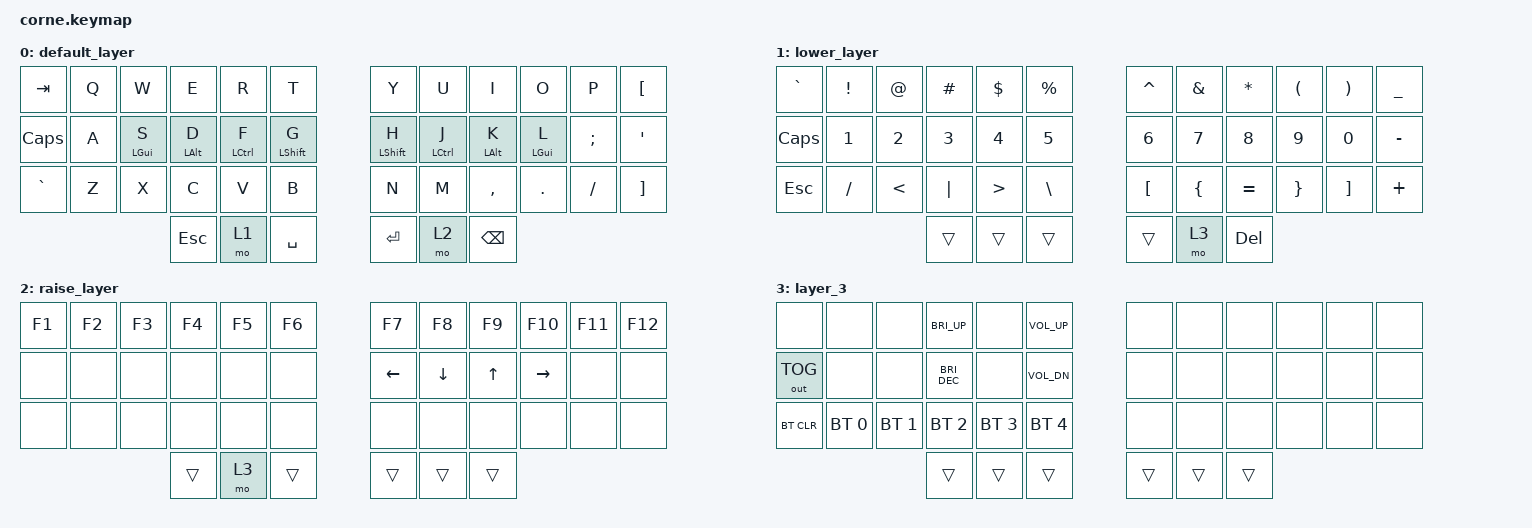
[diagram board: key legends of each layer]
/*
 * Copyright (c) 2020 The ZMK Contributors
 *
 * SPDX-License-Identifier: MIT
 */

#include <behaviors.dtsi>
#include <dt-bindings/zmk/bt.h>
#include <dt-bindings/zmk/keys.h>
#include <dt-bindings/zmk/outputs.h>

/ {
    keymap {
        compatible = "zmk,keymap";

        default_layer {
            // -----------------------------------------------------------------------------------------
            // |  TAB |  Q  |  W  |  E  |  R  |  T  |   |  Y  |  U   |  I  |  O  |  P  | BKSP |
            // | CTRL |  A  |  S  |  D  |  F  |  G  |   |  H  |  J   |  K  |  L  |  ;  |  '   |
            // | SHFT |  Z  |  X  |  C  |  V  |  B  |   |  N  |  M   |  ,  |  .  |  /  | ESC  |
            //                    | GUI | LWR | SPC |   | ENT | RSE  | ALT |

            bindings = <
&kp TAB    &kp Q  &kp W           &kp E           &kp R        &kp T               &kp Y             &kp U               &kp I           &kp O           &kp P     &kp LEFT_BRACKET
&kp CAPS   &kp A  &mt LEFT_GUI S  &mt LEFT_ALT D  &mt LCTRL F  &mt LEFT_SHIFT G    &mt LEFT_SHIFT H  &mt LEFT_CONTROL J  &mt LEFT_ALT K  &mt LEFT_GUI L  &kp SEMI  &kp SQT
&kp GRAVE  &kp Z  &kp X           &kp C           &kp V        &kp B               &kp N             &kp M               &kp COMMA       &kp DOT         &kp FSLH  &kp RIGHT_BRACKET
                                  &kp ESCAPE      &mo 1        &kp SPACE           &kp RET           &mo 2               &kp BACKSPACE
            >;
        };

        lower_layer {
            // -----------------------------------------------------------------------------------------
            // |  TAB |  1  |  2  |  3  |  4  |  5  |   |  6  |  7  |  8  |  9  |  0  | BKSP |
            // | BTCLR| BT1 | BT2 | BT3 | BT4 | BT5 |   | LFT | DWN |  UP | RGT |     |      |
            // | SHFT |     |     |     |     |     |   |     |     |     |     |     |      |
            //                    | GUI |     | SPC |   | ENT |     | ALT |

            bindings = <
&kp GRAVE     &kp EXCL   &kp AT         &kp HASH  &kp DOLLAR  &kp PERCENT      &kp CARET         &kp AMPS  &kp STAR   &kp LPAR  &kp RPAR           &kp UNDER
&kp CAPSLOCK  &kp N1     &kp N2         &kp N3    &kp N4      &kp NUMBER_5     &kp NUMBER_6      &kp N7    &kp N8     &kp N9    &kp N0             &kp MINUS
&kp ESCAPE    &kp SLASH  &kp LESS_THAN  &kp PIPE  &kp GT      &kp BACKSLASH    &kp LEFT_BRACKET  &kp LBRC  &kp EQUAL  &kp RBRC  &kp RIGHT_BRACKET  &kp PLUS
                                        &trans    &trans      &trans           &trans            &mo 3     &kp DEL
            >;
        };

        raise_layer {
            // -----------------------------------------------------------------------------------------
            // |  TAB |  !  |  @  |  #  |  $  |  %  |   |  ^  |  &  |  *  |  (  |  )  | BKSP |
            // | CTRL |     |     |     |     |     |   |  -  |  =  |  [  |  ]  |  \  |  `   |
            // | SHFT |     |     |     |     |     |   |  _  |  +  |  {  |  }  | "|" |  ~   |
            //                    | GUI |     | SPC |   | ENT |     | ALT |

            bindings = <
&kp F1  &kp F2  &kp F3  &kp F4  &kp F5  &kp F6    &kp F7    &kp F8    &kp F9  &kp F10    &kp F11  &kp F12
&none   &none   &none   &none   &none   &none     &kp LEFT  &kp DOWN  &kp UP  &kp RIGHT  &none    &none
&none   &none   &none   &none   &none   &none     &none     &none     &none   &none      &none    &none
                        &trans  &mo 3   &trans    &trans    &trans    &trans
            >;
        };

        layer_3 {
            bindings = <
&none         &none         &none         &kp C_BRI_UP   &none         &kp C_VOLUME_UP    &none   &none   &none   &none  &none  &none
&out OUT_TOG  &none         &none         &kp C_BRI_DEC  &none         &kp C_VOL_DN       &none   &none   &none   &none  &none  &none
&bt BT_CLR    &bt BT_SEL 0  &bt BT_SEL 1  &bt BT_SEL 2   &bt BT_SEL 3  &bt BT_SEL 4       &none   &none   &none   &none  &none  &none
                                          &trans         &trans        &trans             &trans  &trans  &trans
            >;
        };
    };
};
